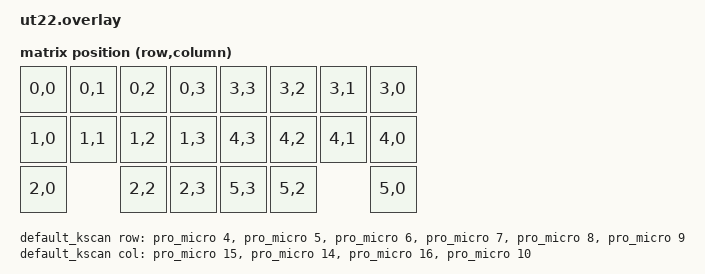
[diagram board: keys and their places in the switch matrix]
#include <dt-bindings/zmk/matrix_transform.h>

/ {
    chosen {
        zmk,kscan = &default_kscan;
        zmk,matrix_transform = &default_transform;
    };

    default_kscan: kscan {
        compatible = "zmk,kscan-gpio-matrix";
        label = "default_kscan";
        diode-direction = "col2row";
        col-gpios
            = <&pro_micro 15 GPIO_ACTIVE_HIGH> // COL0
            , <&pro_micro 14 GPIO_ACTIVE_HIGH> // COL1
            , <&pro_micro 16 GPIO_ACTIVE_HIGH> // COL2
            , <&pro_micro 10 GPIO_ACTIVE_HIGH> // COL3
        ;
        row-gpios
            = <&pro_micro 4 (GPIO_ACTIVE_HIGH | GPIO_PULL_DOWN)> // ROW0
            , <&pro_micro 5 (GPIO_ACTIVE_HIGH | GPIO_PULL_DOWN)> // ROW1
            , <&pro_micro 6 (GPIO_ACTIVE_HIGH | GPIO_PULL_DOWN)> // ROW2
            , <&pro_micro 7 (GPIO_ACTIVE_HIGH | GPIO_PULL_DOWN)> // ROW3
            , <&pro_micro 8 (GPIO_ACTIVE_HIGH | GPIO_PULL_DOWN)> // ROW4
            , <&pro_micro 9 (GPIO_ACTIVE_HIGH | GPIO_PULL_DOWN)> // ROW5
        ;
            
    };

    default_transform: matrix_transform {
        compatible = "zmk,matrix-transform";
        columns = <4>;
        rows = <6>;

        map = <
            RC(0,0) RC(0,1) RC(0,2) RC(0,3) RC(3,3) RC(3,2) RC(3,1) RC(3,0)
            RC(1,0) RC(1,1) RC(1,2) RC(1,3) RC(4,3) RC(4,2) RC(4,1) RC(4,0)
            RC(2,0)         RC(2,2) RC(2,3) RC(5,3) RC(5,2)         RC(5,0)
                    
        >;
    };
};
